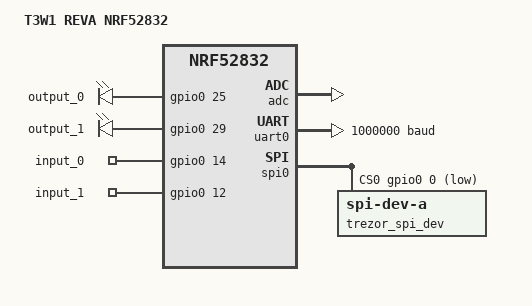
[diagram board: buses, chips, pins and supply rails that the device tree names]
/*
 * Copyright (c) 2019 Nordic Semiconductor ASA
 *
 * SPDX-License-Identifier: Apache-2.0
 */

/dts-v1/;
#include <nordic/nrf52832_ciaa.dtsi>
#include "t3w1_revA_nrf52832-pinctrl.dtsi"

/ {
	model = "T3W1 REVA NRF52832";
	compatible = "nordic,t3w1_revA_nrf52832";

	chosen {
		zephyr,console = &uart0;
		zephyr,shell-uart = &uart0;
		zephyr,uart-mcumgr = &uart0;
		zephyr,sram = &sram0;
		zephyr,flash = &flash0;
		zephyr,code-partition = &slot0_partition;
	};

	outputs {
		compatible = "gpio-leds";
		output_0: output_0 {
			gpios = <&gpio0 25 GPIO_ACTIVE_HIGH>;
		};
		output_1: output_1 {
			gpios = <&gpio0 29 (GPIO_ACTIVE_HIGH)>;
		};
	};

	inputs {
		compatible = "gpio-keys";
		input_0: input_0 {
			gpios = <&gpio0 14 (GPIO_PULL_DOWN | GPIO_ACTIVE_HIGH)>;
		};
		input_1: input_1 {
			gpios = <&gpio0 12 (GPIO_PULL_DOWN | GPIO_ACTIVE_HIGH)>;
		};
	};

	aliases {
		mcuboot-button0 = &input_0;
		watchdog0 = &wdt0;
		spi-ready = &input_1;
		spi-request = &output_1;
		stay-in-bootloader = &input_0;
		reserved-output = &output_0;
	};
};


&adc {
	status = "okay";
};

&uicr {
	gpio-as-nreset;
	nfct-pins-as-gpios;
};

&gpiote {
	status = "okay";
};

&gpio0 {
	status = "okay";
};

&uart0 {
	compatible = "nordic,nrf-uarte";
	status = "okay";
	current-speed = <1000000>;
	pinctrl-0 = <&uart0_default>;
	pinctrl-1 = <&uart0_sleep>;
	pinctrl-names = "default", "sleep";
	hw-flow-control;
};

&spi0 {
	compatible = "nordic,nrf-spim";
	status = "okay";
	pinctrl-0 = <&spi0_default>;
	pinctrl-1 = <&spi0_sleep>;
	pinctrl-names = "default", "sleep";
	cs-gpios = <&gpio0 0 GPIO_ACTIVE_LOW>;
	trezor_spi_dev: spi-dev-a@0 {
		reg = <0>;
	};
};

&flash0 {

	partitions {
		compatible = "fixed-partitions";
		#address-cells = <1>;
		#size-cells = <1>;

		boot_partition: partition@0 {
			label = "mcuboot";
			reg = <0x00000000 0xc000>;
		};
		custom_partition: partition@c000 {
			label = "custom_data";
			reg = <0x0000c000 0x2000>;
		};
		slot0_partition: partition@e000 {
			label = "image-0";
			reg = <0x0000e000 0x6c000>;
		};
		storage_partition: partition@7a000 {
			label = "storage";
			reg = <0x0007a000 0x00006000>;
		};
	};
};
